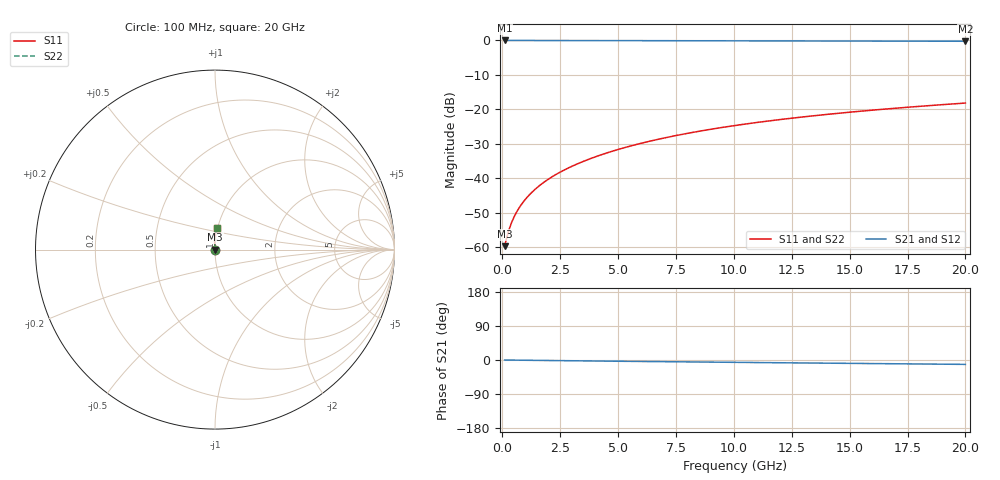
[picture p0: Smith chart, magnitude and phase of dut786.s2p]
! Touchstone file exported from HFSS 2024.1.0
!  File:  C:/UserFiles/LocalFiles/RDL_TSV_Batchsim/temp_RDL_top_786_1779853175.aedt
!  Generated:  11:41:45 AM May 27, 2026
!  Design:  RDL_top
!  Project:  temp_RDL_top_786_1779853175
!  Setup:  Setup1
!  Solution:  Sweep
! Variables:
!  dtsv = 10.80580581um
!  hbump = 3um
!  htsv = 52.17um
!  ldown = 100um
!  lrdl = 138.88um
!  p = 40
!  p1 = 51.33um
!  rhole = 1um
!  t = 450um
!  tdown = 3.915915916um
!  trdl = 3.03um
!  wdown = 15.38538539um
!  wrdl = 28.24um
# GHz S MA R 50.000000
! Terminal data exported
! Port[1] = Box2_T1
! Port[2] = Box2_T2
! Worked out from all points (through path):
!   200 points, 100 MHz to 20 GHz, reference 50 ohm
!   highest |S21| = -0.01 dB at 100 MHz (marker M1); lowest = -0.2 dB at 20 GHz (marker M2)
!   group delay of S21, straight-line fit = 1.58 ps
!   lowest |S11| = -59.7 dB at 100 MHz (marker M3), VSWR 1.00, Z = 50.1 + j0.0544 ohm
!   |S11| at or under -10 dB: start of sweep to end of sweep
!   |S22| runs from -59.7 to -18.2 dB; largest |S21 - S12| = 3.3e-15
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0.1  0.001032 31.8  0.9991 -0.1  0.9991 -0.1  0.001032 31.8
! Gamma 0 0 0 0
! Port Impedance 50 0 50 0
0.2  0.001404 49.3  0.9991 -0.1  0.9991 -0.1  0.001404 49.3
0.3  0.00183 58.6  0.999 -0.2  0.999 -0.2  0.00183 58.6
0.4  0.002265 64.2  0.9989 -0.3  0.9989 -0.3  0.002265 64.2
0.5  0.002702 68.3  0.9989 -0.4  0.9989 -0.4  0.002702 68.3
0.6  0.003143 71.3  0.9988 -0.4  0.9988 -0.4  0.003143 71.3
0.8  0.004038 75.8  0.9987 -0.6  0.9987 -0.6  0.004038 75.8
1.1  0.005413 80.1  0.9985 -0.8  0.9985 -0.8  0.005413 80.1
1.3  0.006349 82.2  0.9984 -0.9  0.9984 -0.9  0.006349 82.2
1.6  0.007781 84.5  0.9982 -1.1  0.9982 -1.1  0.007781 84.5
2.1  0.01023 87.3  0.9977 -1.4  0.9977 -1.4  0.01023 87.3
2.7  0.01329 89.5  0.997 -1.8  0.997 -1.8  0.01329 89.5
3.5  0.01756 91.4  0.996 -2.3  0.996 -2.3  0.01756 91.4
4.2  0.02147 92.4  0.9949 -2.8  0.9949 -2.8  0.02147 92.4
5  0.02612 93.1  0.9936 -3.3  0.9936 -3.3  0.02612 93.1
5.9  0.03156 93.4  0.9921 -3.8  0.9921 -3.8  0.03156 93.4
6.8  0.03717 93.4  0.9906 -4.4  0.9906 -4.4  0.03717 93.4
8.4  0.04742 92.8  0.988 -5.3  0.988 -5.3  0.04742 92.8
10.1  0.05854 91.8  0.9855 -6.2  0.9855 -6.2  0.05854 91.8
13.4  0.08032 89.3  0.9809 -8.0  0.9809 -8.0  0.08032 89.3
16.7  0.102 86.8  0.9767 -9.8  0.9767 -9.8  0.102 86.8
20  0.1233 84.3  0.9727 -11.6  0.9727 -11.6  0.1233 84.3
